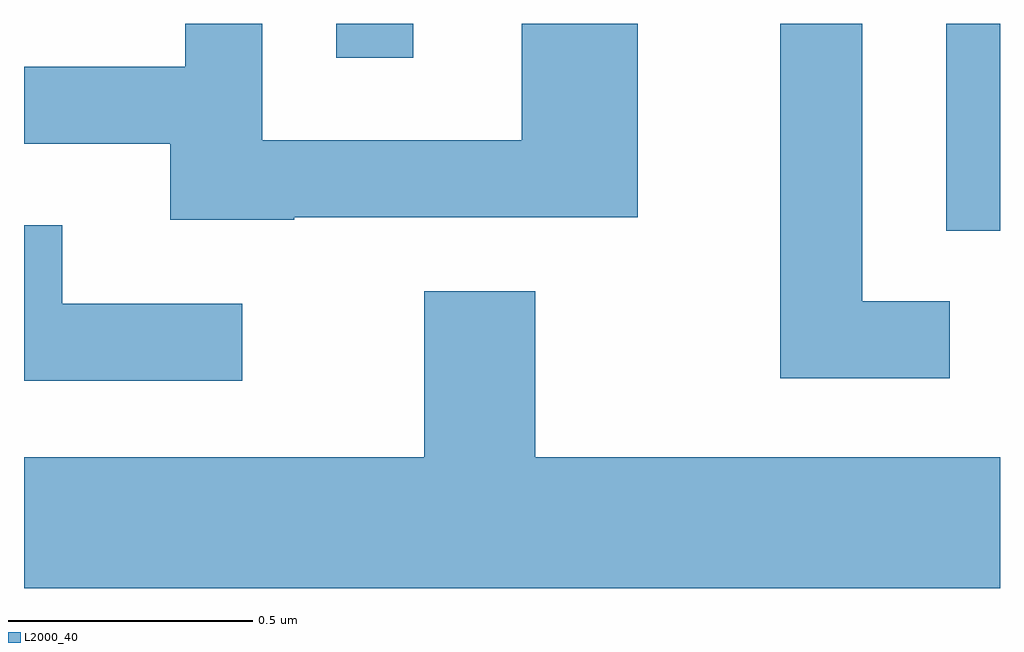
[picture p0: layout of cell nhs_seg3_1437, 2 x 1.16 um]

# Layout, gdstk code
import gdstk
lib = gdstk.Library(unit=1e-6, precision=1e-09)
def R(c, l, rs):  # rectangles x0, y0, x1, y1
    for r in rs: c.add(gdstk.rectangle(r[:2], r[2:], *l))
def P(c, l, *ps):  # polygons
    for p in ps: c.add(gdstk.Polygon(p, *l))
L2000_40 = (2000, 40)

nhs_seg3_1437 = lib.new_cell('nhs_seg3_1437')
R(nhs_seg3_1437, L2000_40, [(197.501,1184.468,197.611,1184.892), (196.251,1184.823,196.409,1184.892)])
P(nhs_seg3_1437, L2000_40, [(197.508,1184.324),(197.329,1184.324),(197.329,1184.892),(197.161,1184.892),(197.161,1184.166),(197.508,1184.166)],
  [(196.165,1184.496),(196.869,1184.496),(196.869,1184.892),(196.631,1184.892),(196.631,1184.654),(196.099,1184.654),(196.099,1184.892),(195.941,1184.892),(195.941,1184.804),(195.611,1184.804),(195.611,1184.646),(195.911,1184.646),(195.911,1184.491),(196.165,1184.491)],
  [(196.058,1184.319),(195.689,1184.319),(195.689,1184.479),(195.611,1184.479),(195.611,1184.161),(196.058,1184.161)],
  [(197.611,1184.004),(196.659,1184.004),(196.659,1184.344),(196.431,1184.344),(196.431,1184.004),(195.611,1184.004),(195.611,1183.736),(197.611,1183.736)])

lib.write_gds('nhs_seg3_1437.gds')
